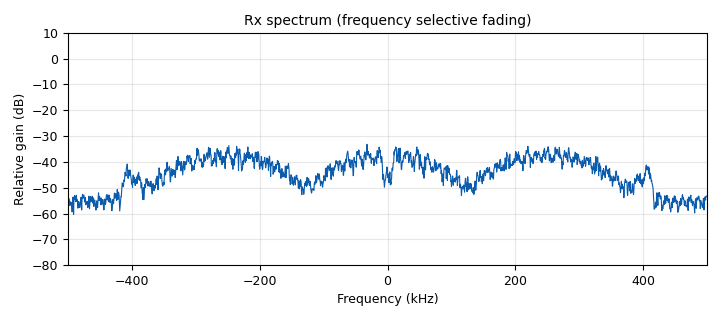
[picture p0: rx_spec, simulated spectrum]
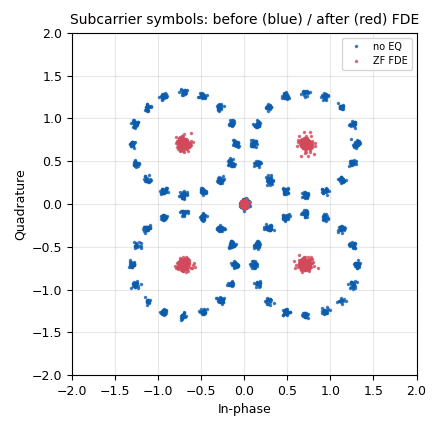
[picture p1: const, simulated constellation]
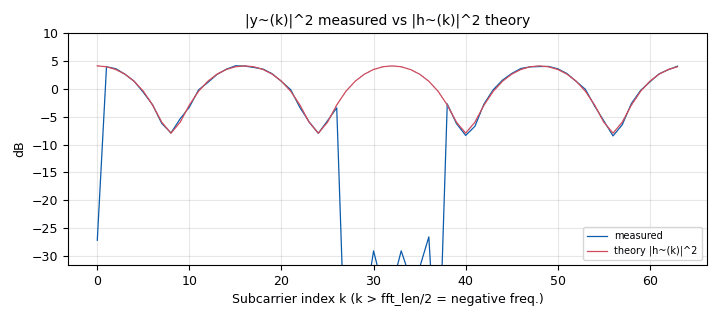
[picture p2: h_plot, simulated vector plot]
options:
  parameters:
    author: NUM Wireless Communication Lab
    description: 'Lecture 3 slides 6-9 and 15-17: time-dispersive channel, ISI, cyclic prefix (circulant channel) and one-tap Frequency Domain Equalizer.'
    generate_options: qt_gui
    id: lab2_multipath_cp_fde
    output_language: python
    title: Lab 2 - Multipath, ISI, cyclic prefix and FDE
  states: {}

blocks:
- name: imp_numpy
  id: import
  parameters:
    imports: import numpy
  states: {}
- name: samp_rate
  id: variable
  parameters:
    value: 1e6
  states: {}
- name: fft_len
  id: variable
  parameters:
    value: '64'
  states: {}
- name: cp_len
  id: variable
  parameters:
    value: '16'
    comment: 'Change and re-run: 0, 4, 16, 32'
  states: {}
- name: n_used
  id: variable
  parameters:
    value: '52'
  states: {}
- name: mask
  id: variable
  parameters:
    value: '[(1.0 if (1 <= k <= n_used//2 or k >= fft_len - n_used//2) else 0.0) / fft_len**0.5 for k in range(fft_len)]'
  states: {}
- name: ch_sel
  id: variable_qtgui_chooser
  parameters:
    label: '"Channel h(tau)"'
    type: int
    num_opts: '4'
    value: '1'
    option0: '0'
    label0: '"AWGN only: h = [1]"'
    option1: '1'
    label1: '"2-path, delay 4 samples (< CP)"'
    option2: '2'
    label2: '"2-path, delay 24 samples (> CP)"'
    option3: '3'
    label3: '"8-tap multipath"'
    widget: radio_buttons
    gui_hint: 0,0,1,1
  states: {}
- name: snr_db
  id: variable_qtgui_range
  parameters:
    label: '"SNR [dB]"'
    value: '30'
    start: '0'
    stop: '40'
    step: '1'
    gui_hint: 0,1,1,1
  states: {}
- name: taps
  id: variable
  parameters:
    value: '[(t + [0]*(32 - len(t))) for t in ([1.0], [1.0, 0, 0, 0, 0.6], [1.0] + [0]*23 + [0.6], [0.8, 0.5j, -0.3, 0.2+0.2j, 0.1, -0.1j, 0.05, 0.03])][ch_sel]'
    comment: All tap sets zero-padded to 32 so the FIR history (timing) never changes
  states: {}
- name: H
  id: variable
  parameters:
    value: numpy.fft.fft(taps, fft_len)
    comment: Channel frequency response h~(k) = FFT of h
  states: {}
- name: eq_zf
  id: variable
  parameters:
    value: (1.0/(fft_len**0.5 * H)).tolist()
    comment: 'FDE: s^(k) = y~(k) / h~(k)'
  states: {}
- name: no_eq
  id: variable
  parameters:
    value: '[1.0/fft_len**0.5]*fft_len'
  states: {}
- name: H_db
  id: variable
  parameters:
    value: (20*numpy.log10(numpy.abs(H) + 1e-9)).tolist()
  states: {}
- name: noise_v
  id: variable
  parameters:
    value: (n_used/fft_len)**0.5 * 10**(-snr_db/20.0)
  states: {}
- name: bits_src
  id: analog_random_source_x
  parameters:
    type: byte
    min: '0'
    max: '4'
    num_samps: '100000'
    repeat: 'True'
    comment: Random 2-bit symbols (0..3)
  states: {}
- name: qpsk_map
  id: digital_chunks_to_symbols_xx
  parameters:
    in_type: byte
    out_type: complex
    symbol_table: '[(1+1j)/2**0.5, (-1+1j)/2**0.5, (1-1j)/2**0.5, (-1-1j)/2**0.5]'
    dimension: '1'
    comment: 'Mod.: QPSK mapping'
  states: {}
- name: s2p
  id: blocks_stream_to_vector
  parameters:
    type: complex
    num_items: fft_len
    comment: 'S/P: fft_len symbols -> 1 vector'
  states: {}
- name: sc_map
  id: blocks_multiply_const_vxx
  parameters:
    type: complex
    const: mask
    vlen: fft_len
    comment: 'Subcarrier mapping: null DC & band edges, scale 1/sqrt(N)'
  states: {}
- name: ofdm_ifft
  id: fft_vxx
  parameters:
    type: complex
    fft_size: fft_len
    forward: 'False'
    window: window.rectangular(fft_len)
    shift: 'False'
    comment: IFFT = OFDM modulation
  states: {}
- name: add_cp
  id: digital_ofdm_cyclic_prefixer
  parameters:
    input_size: fft_len
    cp_len: cp_len
    tagname: '""'
    comment: Add cyclic prefix (P/S + CP)
  states: {}
- name: throttle
  id: blocks_throttle2
  parameters:
    type: complex
    samples_per_second: samp_rate
  states: {}
- name: multipath
  id: fir_filter_xxx
  parameters:
    type: ccc
    decim: '1'
    taps: taps
    comment: 'Multipath channel: y(n) = sum_l h_l s(n-l)'
  states: {}
- name: awgn
  id: analog_noise_source_x
  parameters:
    type: complex
    noise_type: analog.GR_GAUSSIAN
    amp: noise_v
    seed: '0'
  states: {}
- name: chan
  id: blocks_add_xx
  parameters:
    type: complex
    comment: + n(t)
  states: {}
- name: rx_spec
  id: qtgui_freq_sink_x
  parameters:
    type: complex
    name: '"Rx spectrum (frequency selective fading)"'
    fftsize: '2048'
    fc: '0'
    bw: samp_rate
    average: '0.1'
    ymin: '-80'
    grid: 'True'
    gui_hint: 1,0,1,1
  states: {}
- name: rm_cp
  id: blocks_keep_m_in_n
  parameters:
    type: complex
    m: fft_len
    n: fft_len+cp_len
    offset: cp_len
    comment: 'Remove CP: keep last fft_len of every fft_len+cp_len'
  states: {}
- name: rx_s2p
  id: blocks_stream_to_vector
  parameters:
    type: complex
    num_items: fft_len
  states: {}
- name: ofdm_fft
  id: fft_vxx
  parameters:
    type: complex
    fft_size: fft_len
    forward: 'True'
    window: window.rectangular(fft_len)
    shift: 'False'
    comment: FFT = OFDM demodulation
  states: {}
- name: raw
  id: blocks_multiply_const_vxx
  parameters:
    type: complex
    const: no_eq
    vlen: fft_len
    comment: No equalizer
  states: {}
- name: fde
  id: blocks_multiply_const_vxx
  parameters:
    type: complex
    const: eq_zf
    vlen: fft_len
    comment: Zero-forcing FDE
  states: {}
- name: p2s_raw
  id: blocks_vector_to_stream
  parameters:
    type: complex
    num_items: fft_len
  states: {}
- name: p2s_eq
  id: blocks_vector_to_stream
  parameters:
    type: complex
    num_items: fft_len
  states: {}
- name: const
  id: qtgui_const_sink_x
  parameters:
    type: complex
    name: '"Subcarrier symbols: before (blue) / after (red) FDE"'
    size: '2048'
    grid: 'True'
    nconnections: '2'
    label1: '"no EQ"'
    label2: '"ZF FDE"'
    gui_hint: 1,1,1,1
  states: {}
- name: mag2
  id: blocks_complex_to_mag_squared
  parameters:
    vlen: fft_len
  states: {}
- name: to_db
  id: blocks_nlog10_ff
  parameters:
    n: '10'
    vlen: fft_len
    k: '-10*numpy.log10(fft_len)'
  states: {}
- name: h_theory
  id: blocks_vector_source_x
  parameters:
    type: float
    vector: H_db
    repeat: 'True'
    vlen: fft_len
  states: {}
- name: h_plot
  id: qtgui_vector_sink_f
  parameters:
    vlen: fft_len
    x_start: '0'
    x_step: '1'
    x_axis_label: '"Subcarrier index k (k > fft_len/2 = negative freq.)"'
    y_axis_label: '"dB"'
    name: '"|y~(k)|^2 measured vs |h~(k)|^2 theory"'
    ymin: '-30'
    grid: 'True'
    average: '0.1'
    nconnections: '2'
    label1: '"measured"'
    label2: '"theory |h~(k)|^2"'
    gui_hint: 2,0,1,2
  states: {}

connections:
- [bits_src, '0', qpsk_map, '0']
- [qpsk_map, '0', s2p, '0']
- [s2p, '0', sc_map, '0']
- [sc_map, '0', ofdm_ifft, '0']
- [ofdm_ifft, '0', add_cp, '0']
- [add_cp, '0', throttle, '0']
- [throttle, '0', multipath, '0']
- [multipath, '0', chan, '0']
- [awgn, '0', chan, '1']
- [chan, '0', rx_spec, '0']
- [chan, '0', rm_cp, '0']
- [rm_cp, '0', rx_s2p, '0']
- [rx_s2p, '0', ofdm_fft, '0']
- [ofdm_fft, '0', raw, '0']
- [ofdm_fft, '0', fde, '0']
- [raw, '0', p2s_raw, '0']
- [fde, '0', p2s_eq, '0']
- [p2s_raw, '0', const, '0']
- [p2s_eq, '0', const, '1']
- [ofdm_fft, '0', mag2, '0']
- [mag2, '0', to_db, '0']
- [to_db, '0', h_plot, '0']
- [h_theory, '0', h_plot, '1']

metadata:
  file_format: 1
  grc_version: 3.10.9.2
